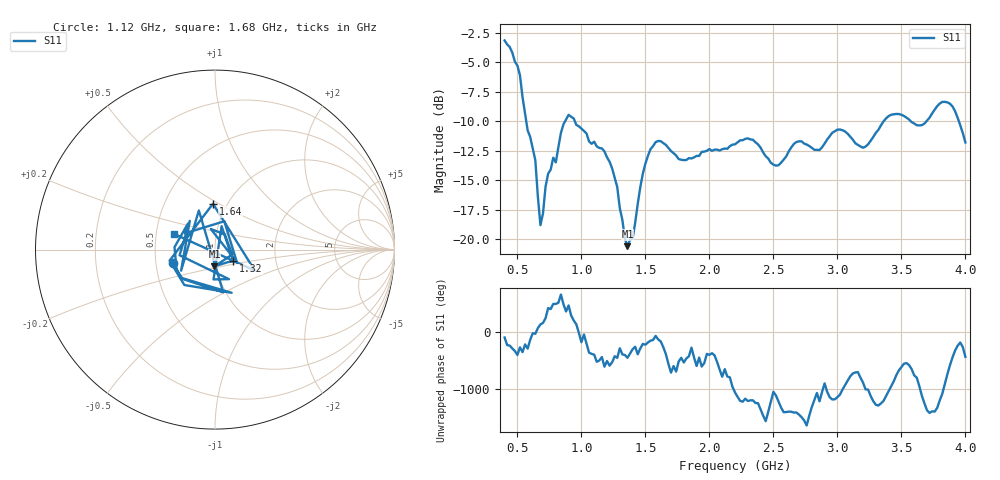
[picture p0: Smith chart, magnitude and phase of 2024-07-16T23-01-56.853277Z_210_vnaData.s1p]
!Created with skrf (http://scikit-rf.org).
# Hz S RI R 50.0
!freq ReS11 ImS11
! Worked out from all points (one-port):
!   181 points, 400 MHz to 4 GHz, reference 50 ohm
!   lowest |S11| = -20.6 dB at 1.36 GHz (marker M1), VSWR 1.21, Z = 48.9 - j9.21 ohm
!   |S11| at or under -10 dB: 569.1 MHz to 872.7 MHz (303.5 MHz wide, 42.1 % of centre); 948.8 MHz to 3.361 GHz (2.412 GHz wide, 112 % of centre); 3.574 GHz to 3.696 GHz (121.9 MHz wide, 3.35 % of centre) (the widest 3 of 4)
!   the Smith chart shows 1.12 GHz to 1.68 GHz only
!   S11 on the Smith chart (normalised r, x): 1.12 GHz: 0.61, -0.10; 1.32 GHz: 1.22, -0.16; 1.64 GHz: 0.86, +0.47; 1.68 GHz: 0.62, +0.12
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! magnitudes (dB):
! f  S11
! 400 MHz  -3.2
! 520 MHz  -6.1
! 640 MHz  -13.3
! 680 MHz  -18.8
! 740 MHz  -14.4
! 800 MHz  -13.5
! 860 MHz  -10.3
! 900 MHz  -9.5
! 1.12 GHz  -12.1
! 1.24 GHz  -14.0
! 1.3 GHz  -17.4
! 1.32 GHz  -18.4
! 1.36 GHz  -20.6
! 1.4 GHz  -19.9
! 1.52 GHz  -12.9
! 1.64 GHz  -11.8
! 1.68 GHz  -12.3
! 1.76 GHz  -13.2
! 2.2 GHz  -12.0
! 2.34 GHz  -11.6
! 2.52 GHz  -13.8
! 2.66 GHz  -11.9
! 3.1 GHz  -11.3
! 3.2 GHz  -12.2
! 3.4 GHz  -9.6
! 3.56 GHz  -9.9
! 3.86 GHz  -8.4
! 4 GHz  -11.8
